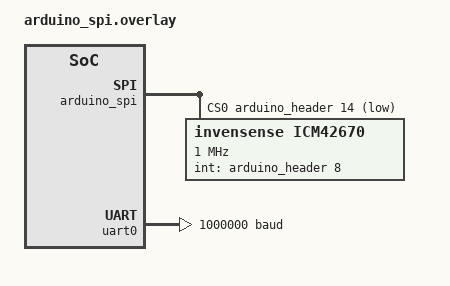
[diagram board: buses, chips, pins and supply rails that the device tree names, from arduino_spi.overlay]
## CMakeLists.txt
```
#
# Copyright (c) 2024 TDK Invensense
#
# SPDX-License-Identifier: Apache-2.0
#

cmake_minimum_required(VERSION 3.20.0)
find_package(Zephyr REQUIRED HINTS $ENV{ZEPHYR_BASE})
project(icm42670)

FILE(GLOB app_sources src/*.c)
target_sources(app PRIVATE ${app_sources})
```

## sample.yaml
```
sample:
  name: ICM42670 Sensor data stream sample
tests:
  sample.sensor.icm42670.ds:
    build_only: true
    tags: sensors
    integration_platforms:
      - nrf52dk/nrf52832
```

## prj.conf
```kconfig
#
# Copyright (c) 2024 TDK Invensense
#
# SPDX-License-Identifier: Apache-2.0
#

CONFIG_SENSOR=y

CONFIG_LOG=y
CONFIG_LOG_PRINTK=y
CONFIG_SENSOR_LOG_LEVEL_DBG=y

# Floating point format support
# Selecting this increases stack size requirements slightly, but increases code size significantly.
CONFIG_CBPRINTF_FP_SUPPORT=y

# Buffer size for console. The defaults are optimized to save RAM
CONFIG_CONSOLE_SUBSYS=y
CONFIG_CONSOLE_GETCHAR=y
CONFIG_CONSOLE_GETCHAR_BUFSIZE=16
CONFIG_CONSOLE_PUTCHAR_BUFSIZE=512
```

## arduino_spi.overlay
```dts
/*
 * Copyright (c) 2020, TDK Invensense
 *
 * SPDX-License-Identifier: Apache-2.0
 */

/* Example configuration of a ICM42670 device on an Arduino SPI bus. */
&arduino_spi {
	status = "okay";
	cs-gpios = <&arduino_header 14 GPIO_ACTIVE_LOW>; /* D8 */
	icm42670@0 {
		compatible = "invensense,icm42670";
		reg = <0>;
		spi-max-frequency = <1000000>; /* conservatively set to 1MHz */
		int-gpios = <&arduino_header 8 GPIO_ACTIVE_HIGH>; /* D2 */
	};
};

/*
 * Increase native UART speed to report all IMU data at 100Hz.
 */
&uart0 {
	compatible = "nordic,nrf-uarte";
	status = "okay";
	current-speed = <1000000>;
};
```

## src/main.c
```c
/*
 * Copyright (c) 2024 TDK Invensense
 *
 * SPDX-License-Identifier: Apache-2.0
 */

#include <zephyr/kernel.h>
#include <zephyr/device.h>
#include <zephyr/devicetree.h>
#include <zephyr/drivers/sensor.h>
#include <zephyr/drivers/sensor/icm42670.h>
#include <stdio.h>

static struct sensor_trigger data_trigger;

/* Flag set from IMU device irq handler */
static volatile int irq_from_device = 0;

/*
 * Get a device structure from a devicetree node with compatible
 * "invensense,icm42670". (If there are multiple, just pick one.)
 */
static const struct device *get_icm42670_device(void)
{
	const struct device *const dev = DEVICE_DT_GET_ANY(invensense_icm42670);

	if (dev == NULL) {
		/* No such node, or the node does not have status "okay". */
		printk("\nError: no device found.\n");
		return NULL;
	}

	if (!device_is_ready(dev)) {
		printk("\nError: Device \"%s\" is not ready; "
		       "check the driver initialization logs for errors.\n",
		       dev->name);
		return NULL;
	}

	printk("Found device \"%s\", getting sensor data\n", dev->name);
	return dev;
}

static const char *now_str(void)
{
	static char buf[16]; /* ...HH:MM:SS.MMM */
	uint32_t now = k_uptime_get_32();
	unsigned int ms = now % MSEC_PER_SEC;
	unsigned int s;
	unsigned int min;
	unsigned int h;

	now /= MSEC_PER_SEC;
	s = now % 60U;
	now /= 60U;
	min = now % 60U;
	now /= 60U;
	h = now;

	snprintf(buf, sizeof(buf), "%u:%02u:%02u.%03u", h, min, s, ms);
	return buf;
}

static void handle_icm42670_drdy(const struct device *dev, const struct sensor_trigger *trig)
{
	if (trig->type == SENSOR_TRIG_DATA_READY) {
		int rc = sensor_sample_fetch_chan(dev, trig->chan);

		if (rc < 0) {
			printf("sample fetch failed: %d\n", rc);
			printf("cancelling trigger due to failure: %d\n", rc);
			(void)sensor_trigger_set(dev, trig, NULL);
			return;
		} else if (rc == 0) {
			irq_from_device = 1;
		}
	}
}

int main(void)
{
	const struct device *dev = get_icm42670_device();
	struct sensor_value accel[3];
	struct sensor_value gyro[3];
	struct sensor_value temperature;

	if (dev == NULL) {
		return 0;
	}

	data_trigger = (struct sensor_trigger){
		.type = SENSOR_TRIG_DATA_READY,
		.chan = SENSOR_CHAN_ALL,
	};
	if (sensor_trigger_set(dev, &data_trigger, handle_icm42670_drdy) < 0) {
		printf("Cannot configure data trigger!!!\n");
		return 0;
	}

	k_sleep(K_MSEC(1000));

	while (1) {

		if (irq_from_device) {
			sensor_channel_get(dev, SENSOR_CHAN_ACCEL_XYZ, accel);
			sensor_channel_get(dev, SENSOR_CHAN_GYRO_XYZ, gyro);
			sensor_channel_get(dev, SENSOR_CHAN_DIE_TEMP, &temperature);

			printf("[%s]: temp %.2f Cel "
			       "  accel %f %f %f m/s/s "
			       "  gyro  %f %f %f rad/s\n",
			       now_str(), sensor_value_to_double(&temperature),
			       sensor_value_to_double(&accel[0]), sensor_value_to_double(&accel[1]),
			       sensor_value_to_double(&accel[2]), sensor_value_to_double(&gyro[0]),
			       sensor_value_to_double(&gyro[1]), sensor_value_to_double(&gyro[2]));
			irq_from_device = 0;
		}
	}
	return 0;
}
```
